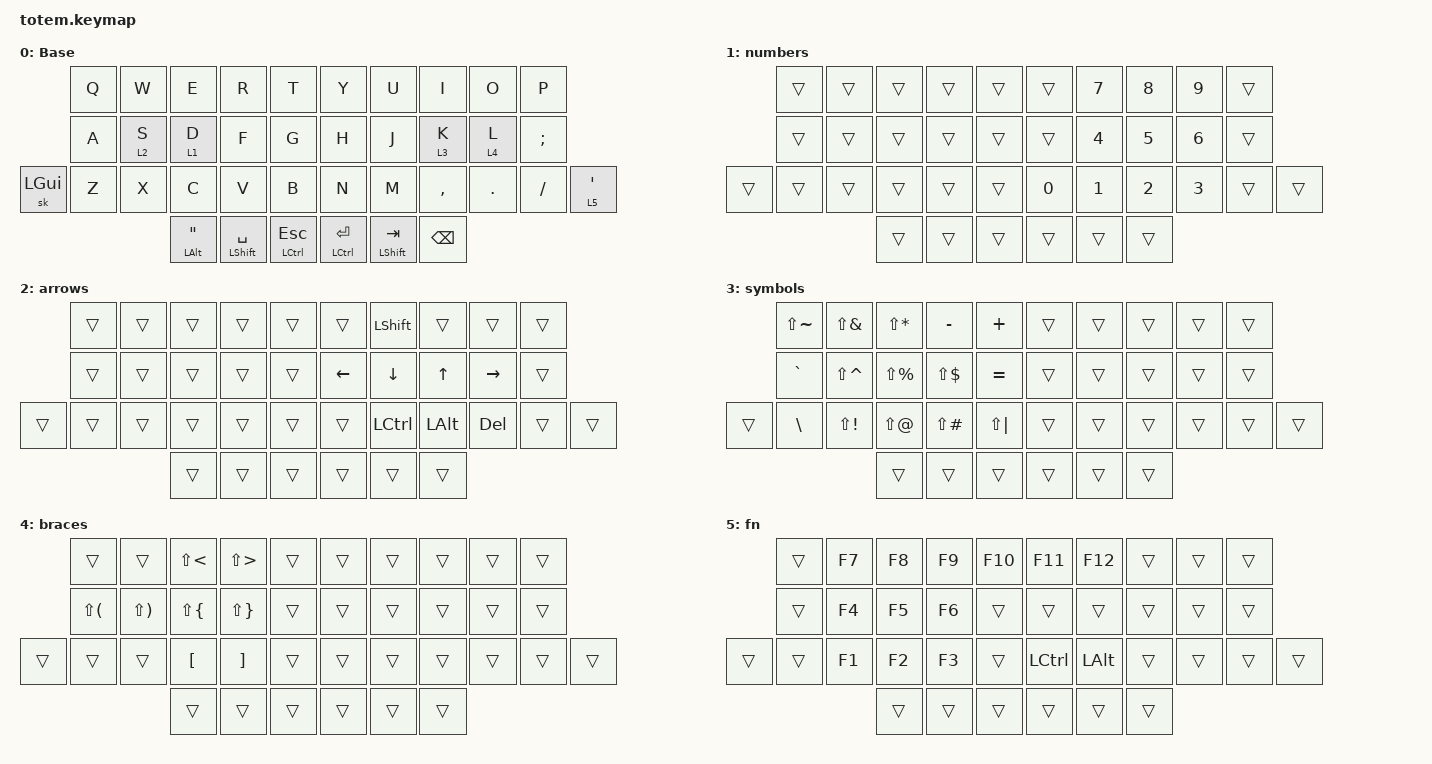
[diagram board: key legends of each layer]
//
//                                                        ▀▀▀▀▀     ▀▀▀▀▀          ▀▀█▀▀
//                                                        ▄▀▀▀▄  ▄  ▄▀▀▀▄  ▄  ▄▀▀▀▄  █  ▄▀▀▀▄
//                                                        █   █  █  █   █  █  █   █  █  █   █
//                                                         ▀▀▀   █   ▀▀▀   █   ▀▀▀   ▀   ▀▀▀
//                                                               █      ▄▄▄█▄▄▄    █   █  
//                                                               ▀      █  █  █     █▄█
//                                                             ▀▀▀▀▀    █  █  █      ▀
//                                                                      ▀  ▀  ▀
//
// ▄▄▄▄▄▄▄▄▄▄▄▄▄▄▄▄▄▄▄▄▄▄▄▄▄▄▄▄▄▄▄▄▄▄▄▄▄▄▄▄▄▄▄▄▄▄▄▄▄▄▄▄▄▄▄▄▄▄▄▄▄▄▄▄▄▄▄▄▄▄▄▄▄▄▄▄▄▄▄▄▄▄▄▄▄▄▄▄▄▄▄▄▄▄▄▄▄▄▄▄▄▄▄▄▄▄▄▄▄▄▄▄▄▄▄▄▄▄▄▄▄▄▄▄▄▄▄▄▄▄▄▄▄▄▄▄▄▄▄▄▄▄▄▄▄▄▄▄▄

#include <behaviors.dtsi>
#include <dt-bindings/zmk/keys.h>

#define Base        0
#define Nav         1
#define Sym         2
#define Fun         3
#define Game        4
#define Gameplus    5

&mt {
    quick-tap-ms = <100>;
    global-quick-tap;
    flavor = "tap-preferred";
    tapping-term-ms = <170>;
};

&lt {
    tapping-term-ms = <240>;
    flavor = "balanced";
    quick-tap-ms = <300>;
};

/ {
    behaviors {
        hm: homerow_mods {
            compatible = "zmk,behavior-hold-tap";
            label = "HOMEROW_MODS";
            #binding-cells = <2>;
            flavor = "tap-preferred";
            tapping-term-ms = <200>;
            quick-tap-ms = <300>;
            global-quick-tap;
            bindings = <&kp>, <&kp>;
        };
    };

    combos {
        compatible = "zmk,combos";

        underscore {
            bindings = <&kp UNDERSCORE>;
            key-positions = <24 27>;
        };

        dash {
            bindings = <&kp MINUS>;
            key-positions = <3 6>;
        };

        sticky_shift {
            bindings = <&sk LEFT_SHIFT>;
            key-positions = <13 16>;
        };

        caps_lock {
            bindings = <&caps_word>;
            key-positions = <14 15>;
        };

        colon {
            bindings = <&kp COLON>;
            key-positions = <2 7>;
        };
    };

    keymap {
        compatible = "zmk,keymap";

        Base {
            label = "Base";
            bindings = <
              &kp Q  &kp W    &kp E                       &kp R                 &kp T               &kp Y            &kp U               &kp I          &kp O    &kp P
              &kp A  &lt 2 S  &lt 1 D                     &kp F                 &kp G               &kp H            &kp J               &lt 3 K        &lt 4 L  &kp SEMI
&sk LEFT_GUI  &kp Z  &kp X    &kp C                       &kp V                 &kp B               &kp N            &kp M               &kp COMMA      &kp DOT  &kp SLASH  &lt 5 APOSTROPHE
                              &mt LEFT_ALT DOUBLE_QUOTES  &mt LEFT_SHIFT SPACE  &mt LCTRL ESCAPE    &mt LCTRL ENTER  &mt LEFT_SHIFT TAB  &kp BACKSPACE
            >;
        };

        numbers {
            bindings = <
        &trans  &trans  &trans  &trans  &trans    &trans  &kp N7  &kp N8  &kp N9  &trans
        &trans  &trans  &trans  &trans  &trans    &trans  &kp N4  &kp N5  &kp N6  &trans
&trans  &trans  &trans  &trans  &trans  &trans    &kp N0  &kp N1  &kp N2  &kp N3  &trans  &trans
                        &trans  &trans  &trans    &trans  &trans  &trans
            >;
        };

        arrows {
            bindings = <
        &trans  &trans  &trans  &trans  &trans    &trans    &kp LEFT_SHIFT  &trans        &trans     &trans
        &trans  &trans  &trans  &trans  &trans    &kp LEFT  &kp DOWN        &kp UP        &kp RIGHT  &trans
&trans  &trans  &trans  &trans  &trans  &trans    &trans    &kp LCTRL       &kp LEFT_ALT  &kp DEL    &trans  &trans
                        &trans  &trans  &trans    &trans    &trans          &trans
            >;
        };

        symbols {
            bindings = <
        &kp LS(TILDE)  &kp LS(AMPS)   &kp LS(STAR)   &kp MINUS      &kp PLUS        &trans  &trans  &trans  &trans  &trans
        &kp GRAVE      &kp LS(CARET)  &kp LS(PRCNT)  &kp LS(DLLR)   &kp EQUAL       &trans  &trans  &trans  &trans  &trans
&trans  &kp BSLH       &kp LS(EXCL)   &kp LS(AT)     &kp LS(POUND)  &kp LS(PIPE)    &trans  &trans  &trans  &trans  &trans  &trans
                                      &trans         &trans         &trans          &trans  &trans  &trans
            >;
        };

        braces {
            bindings = <
        &trans        &trans        &kp LS(LT)    &kp LS(GT)    &trans    &trans  &trans  &trans  &trans  &trans
        &kp LS(LPAR)  &kp LS(RPAR)  &kp LS(LBRC)  &kp LS(RBRC)  &trans    &trans  &trans  &trans  &trans  &trans
&trans  &trans        &trans        &kp LBKT      &kp RBKT      &trans    &trans  &trans  &trans  &trans  &trans  &trans
                                    &trans        &trans        &trans    &trans  &trans  &trans
            >;
        };

        fn {
            bindings = <
        &trans  &kp F7  &kp F8  &kp F9  &kp F10    &kp F11    &kp F12   &trans  &trans  &trans
        &trans  &kp F4  &kp F5  &kp F6  &trans     &trans     &trans    &trans  &trans  &trans
&trans  &trans  &kp F1  &kp F2  &kp F3  &trans     &kp LCTRL  &kp LALT  &trans  &trans  &trans  &trans
                        &trans  &trans  &trans     &trans     &trans    &trans
            >;
        };
    };
};
